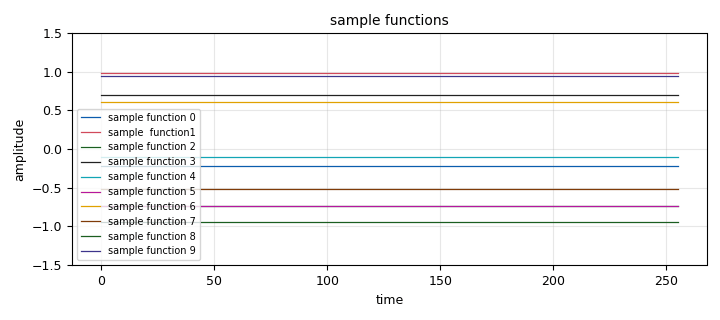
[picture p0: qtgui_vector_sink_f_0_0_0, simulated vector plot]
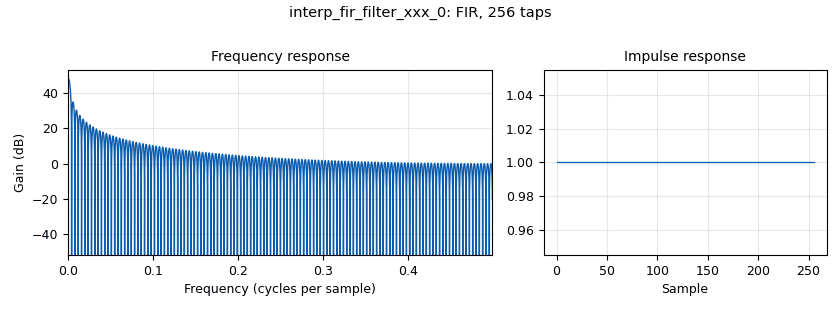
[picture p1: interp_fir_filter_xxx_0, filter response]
<?xml version='1.0' encoding='utf-8'?>
<?grc format='1' created='3.7.13'?>
<flow_graph>
<block>
<key>options</key>
<param><key>id</key><value>top_block</value></param>
<param><key>generate_options</key><value>qt_gui</value></param>
<param><key>run</key><value>run_stop</value></param>
</block>
<block>
<key>variable</key>
<param><key>id</key><value>N</value></param>
<param><key>value</key><value>256</value></param>
</block>
<block>
<key>variable_qtgui_check_box</key>
<param><key>id</key><value>run_stop</value></param>
<param><key>value</key><value>True</value></param>
<param><key>false</key><value>False</value></param>
<param><key>gui_hint</key><value>0,0,1,1</value></param>
<param><key>label</key><value>Inicial/Parar</value></param>
<param><key>true</key><value>True</value></param>
<param><key>type</key><value>int</value></param>
</block>
<block>
<key>variable</key>
<param><key>id</key><value>samp_rate</value></param>
<param><key>value</key><value>32000</value></param>
</block>
<block>
<key>E3TRadio_vector_average_hob</key>
<param><key>id</key><value>E3TRadio_vector_average_hob_0</value></param>
<param><key>Nensayos</key><value>100000000</value></param>
<param><key>N</key><value>N</value></param>
</block>
<block>
<key>analog_const_source_x</key>
<param><key>id</key><value>analog_const_source_x_0_0</value></param>
<param><key>const</key><value>400000</value></param>
<param><key>type</key><value>float</value></param>
</block>
<block>
<key>analog_const_source_x</key>
<param><key>id</key><value>analog_const_source_x_0_0_0_0</value></param>
<param><key>const</key><value>0</value></param>
<param><key>type</key><value>float</value></param>
</block>
<block>
<key>analog_const_source_x</key>
<param><key>id</key><value>analog_const_source_x_0_0_0_1</value></param>
<param><key>const</key><value>1</value></param>
<param><key>type</key><value>float</value></param>
</block>
<block>
<key>analog_noise_source_x</key>
<param><key>id</key><value>analog_noise_source_x_0</value></param>
<param><key>amp</key><value>1</value></param>
<param><key>noise_type</key><value>analog.GR_GAUSSIAN</value></param>
<param><key>type</key><value>float</value></param>
<param><key>seed</key><value>0</value></param>
</block>
<block>
<key>analog_random_uniform_source_x</key>
<param><key>id</key><value>analog_random_uniform_source_x_0</value></param>
<param><key>maximum</key><value>1001</value></param>
<param><key>minimum</key><value>-1000</value></param>
<param><key>type</key><value>int</value></param>
<param><key>seed</key><value>24</value></param>
</block>
<block>
<key>blocks_int_to_float</key>
<param><key>id</key><value>blocks_int_to_float_0</value></param>
<param><key>scale</key><value>1</value></param>
</block>
<block>
<key>blocks_multiply_const_vxx</key>
<param><key>id</key><value>blocks_multiply_const_vxx_0</value></param>
<param><key>const</key><value>1/1000.</value></param>
<param><key>type</key><value>float</value></param>
</block>
<block>
<key>blocks_multiply_const_vxx</key>
<param><key>id</key><value>blocks_multiply_const_vxx_0_0</value></param>
<param><key>const</key><value>math.pi</value></param>
<param><key>type</key><value>float</value></param>
</block>
<block>
<key>blocks_null_sink</key>
<param><key>id</key><value>blocks_null_sink_0</value></param>
<param><key>bus_conns</key><value>[[0,],]</value></param>
<param><key>type</key><value>float</value></param>
</block>
<block>
<key>blocks_null_sink</key>
<param><key>id</key><value>blocks_null_sink_0_0</value></param>
<param><key>bus_conns</key><value>[[0,],]</value></param>
<param><key>type</key><value>float</value></param>
</block>
<block>
<key>blocks_null_sink</key>
<param><key>id</key><value>blocks_null_sink_0_1</value></param>
<param><key>bus_conns</key><value>[[0,],]</value></param>
<param><key>type</key><value>float</value></param>
</block>
<block>
<key>blocks_stream_to_streams</key>
<param><key>id</key><value>blocks_stream_to_streams_0</value></param>
<param><key>type</key><value>float</value></param>
<param><key>num_streams</key><value>10</value></param>
<param><key>vlen</key><value>N</value></param>
</block>
<block>
<key>blocks_stream_to_vector</key>
<param><key>id</key><value>blocks_stream_to_vector_0</value></param>
<param><key>type</key><value>float</value></param>
<param><key>num_items</key><value>N</value></param>
</block>
<block>
<key>import</key>
<param><key>id</key><value>import_0</value></param>
<param><key>import</key><value>import numpy as np</value></param>
</block>
<block>
<key>import</key>
<param><key>id</key><value>import_0_0</value></param>
<param><key>import</key><value>import  math</value></param>
</block>
<block>
<key>interp_fir_filter_xxx</key>
<param><key>id</key><value>interp_fir_filter_xxx_0</value></param>
<param><key>interp</key><value>N</value></param>
<param><key>taps</key><value>np.array([1]*N)</value></param>
<param><key>type</key><value>fff</value></param>
</block>
<block>
<key>epy_block</key>
<param><key>id</key><value>proc_estoc_sine</value></param>
<param><key>_source_code</key><value>"""
Embedded Python Blocks:

Each time this file is saved, GRC will instantiate the first class it finds
to get ports and parameters of your block. The arguments to __init__  will
be the parameters. All of them are required to have default values!
"""
import math
import numpy as np
from gnuradio import gr


class blk(gr.sync_block):  # other base classes are basic_block, decim_block, interp_block
    """Embedded Python Block example - a simple multiply const"""

    def __init__(self):  # only default arguments here
        """arguments to this function show up as parameters in GRC"""
        gr.sync_block.__init__(
            self,
            name='proc_estoc_sine',   # will show up in GRC
            in_sig=[np.float32, np.float32, np.float32,np.float32],
            out_sig=[np.float32]
        )
        self.n_m=0 # guarda el ultimo valor de n

    def work(self, input_items, output_items):
        A=input_items[0]
        F=input_items[1]
        P=input_items[2]
        D=input_items[3]
        out=output_items[0]
        L=len(A)
        n=np.linspace(self.n_m, self.n_m+L-1,L)
        self.n_m += L
        out[:]=A*np.cos(2*math.pi*F*(n+D)+P)
#        out=np.cos(2*math.pi*2000*n)
#        print ("out=", out) 
        return len(out)
</value></param>
</block>
<block>
<key>qtgui_vector_sink_f</key>
<param><key>id</key><value>qtgui_vector_sink_f_0</value></param>
<param><key>width1</key><value>3</value></param>
<param><key>name</key><value>"mean function"</value></param>
<param><key>showports</key><value>True</value></param>
<param><key>vlen</key><value>N</value></param>
<param><key>x_axis_label</key><value>"time"</value></param>
<param><key>x_start</key><value>0</value></param>
<param><key>x_step</key><value>1.0</value></param>
<param><key>ymax</key><value>0.004</value></param>
<param><key>ymin</key><value>-0.004</value></param>
<param><key>y_axis_label</key><value>"amplitude"</value></param>
</block>
<block>
<key>qtgui_vector_sink_f</key>
<param><key>id</key><value>qtgui_vector_sink_f_0_0_0</value></param>
<param><key>label1</key><value>sample function 0</value></param>
<param><key>width1</key><value>3</value></param>
<param><key>label10</key><value>sample function 9</value></param>
<param><key>width10</key><value>3</value></param>
<param><key>label2</key><value>sample  function1</value></param>
<param><key>width2</key><value>3</value></param>
<param><key>label3</key><value>sample function 2</value></param>
<param><key>width3</key><value>3</value></param>
<param><key>label4</key><value>sample function 3</value></param>
<param><key>width4</key><value>3</value></param>
<param><key>label5</key><value>sample function 4</value></param>
<param><key>width5</key><value>3</value></param>
<param><key>label6</key><value>sample function 5</value></param>
<param><key>width6</key><value>3</value></param>
<param><key>label7</key><value>sample function 6</value></param>
<param><key>width7</key><value>3</value></param>
<param><key>label8</key><value>sample function 7</value></param>
<param><key>width8</key><value>3</value></param>
<param><key>label9</key><value>sample function 8</value></param>
<param><key>width9</key><value>3</value></param>
<param><key>name</key><value>"sample functions"</value></param>
<param><key>nconnections</key><value>10</value></param>
<param><key>showports</key><value>True</value></param>
<param><key>vlen</key><value>N</value></param>
<param><key>x_axis_label</key><value>"time"</value></param>
<param><key>x_start</key><value>0</value></param>
<param><key>x_step</key><value>1.0</value></param>
<param><key>ymax</key><value>1.5</value></param>
<param><key>ymin</key><value>-1.5</value></param>
<param><key>y_axis_label</key><value>"amplitude"</value></param>
</block>
<block>
<key>virtual_sink</key>
<param><key>id</key><value>virtual_sink_0</value></param>
<param><key>stream_id</key><value>s0</value></param>
</block>
<block>
<key>virtual_sink</key>
<param><key>id</key><value>virtual_sink_0_1</value></param>
<param><key>stream_id</key><value>s1</value></param>
</block>
<block>
<key>virtual_sink</key>
<param><key>id</key><value>virtual_sink_0_1_0</value></param>
<param><key>stream_id</key><value>s2</value></param>
</block>
<block>
<key>virtual_source</key>
<param><key>id</key><value>virtual_source_0</value></param>
<param><key>stream_id</key><value>s0</value></param>
</block>
<block>
<key>virtual_source</key>
<param><key>id</key><value>virtual_source_0_1</value></param>
<param><key>stream_id</key><value>s0</value></param>
</block>
<connection><source_block_id>E3TRadio_vector_average_hob_0</source_block_id><sink_block_id>qtgui_vector_sink_f_0</sink_block_id><source_key>0</source_key><sink_key>0</sink_key></connection>
<connection><source_block_id>analog_const_source_x_0_0</source_block_id><sink_block_id>proc_estoc_sine</sink_block_id><source_key>0</source_key><sink_key>1</sink_key></connection>
<connection><source_block_id>analog_const_source_x_0_0_0_0</source_block_id><sink_block_id>proc_estoc_sine</sink_block_id><source_key>0</source_key><sink_key>3</sink_key></connection>
<connection><source_block_id>analog_const_source_x_0_0_0_1</source_block_id><sink_block_id>proc_estoc_sine</sink_block_id><source_key>0</source_key><sink_key>0</sink_key></connection>
<connection><source_block_id>analog_noise_source_x_0</source_block_id><sink_block_id>blocks_null_sink_0_1</sink_block_id><source_key>0</source_key><sink_key>0</sink_key></connection>
<connection><source_block_id>analog_noise_source_x_0</source_block_id><sink_block_id>virtual_sink_0_1_0</sink_block_id><source_key>0</source_key><sink_key>0</sink_key></connection>
<connection><source_block_id>analog_random_uniform_source_x_0</source_block_id><sink_block_id>blocks_int_to_float_0</sink_block_id><source_key>0</source_key><sink_key>0</sink_key></connection>
<connection><source_block_id>blocks_int_to_float_0</source_block_id><sink_block_id>blocks_multiply_const_vxx_0</sink_block_id><source_key>0</source_key><sink_key>0</sink_key></connection>
<connection><source_block_id>blocks_multiply_const_vxx_0</source_block_id><sink_block_id>interp_fir_filter_xxx_0</sink_block_id><source_key>0</source_key><sink_key>0</sink_key></connection>
<connection><source_block_id>blocks_multiply_const_vxx_0_0</source_block_id><sink_block_id>proc_estoc_sine</sink_block_id><source_key>0</source_key><sink_key>2</sink_key></connection>
<connection><source_block_id>blocks_stream_to_streams_0</source_block_id><sink_block_id>qtgui_vector_sink_f_0_0_0</sink_block_id><source_key>0</source_key><sink_key>0</sink_key></connection>
<connection><source_block_id>blocks_stream_to_streams_0</source_block_id><sink_block_id>qtgui_vector_sink_f_0_0_0</sink_block_id><source_key>1</source_key><sink_key>1</sink_key></connection>
<connection><source_block_id>blocks_stream_to_streams_0</source_block_id><sink_block_id>qtgui_vector_sink_f_0_0_0</sink_block_id><source_key>2</source_key><sink_key>2</sink_key></connection>
<connection><source_block_id>blocks_stream_to_streams_0</source_block_id><sink_block_id>qtgui_vector_sink_f_0_0_0</sink_block_id><source_key>3</source_key><sink_key>3</sink_key></connection>
<connection><source_block_id>blocks_stream_to_streams_0</source_block_id><sink_block_id>qtgui_vector_sink_f_0_0_0</sink_block_id><source_key>4</source_key><sink_key>4</sink_key></connection>
<connection><source_block_id>blocks_stream_to_streams_0</source_block_id><sink_block_id>qtgui_vector_sink_f_0_0_0</sink_block_id><source_key>5</source_key><sink_key>5</sink_key></connection>
<connection><source_block_id>blocks_stream_to_streams_0</source_block_id><sink_block_id>qtgui_vector_sink_f_0_0_0</sink_block_id><source_key>6</source_key><sink_key>6</sink_key></connection>
<connection><source_block_id>blocks_stream_to_streams_0</source_block_id><sink_block_id>qtgui_vector_sink_f_0_0_0</sink_block_id><source_key>7</source_key><sink_key>7</sink_key></connection>
<connection><source_block_id>blocks_stream_to_streams_0</source_block_id><sink_block_id>qtgui_vector_sink_f_0_0_0</sink_block_id><source_key>8</source_key><sink_key>8</sink_key></connection>
<connection><source_block_id>blocks_stream_to_streams_0</source_block_id><sink_block_id>qtgui_vector_sink_f_0_0_0</sink_block_id><source_key>9</source_key><sink_key>9</sink_key></connection>
<connection><source_block_id>blocks_stream_to_vector_0</source_block_id><sink_block_id>E3TRadio_vector_average_hob_0</sink_block_id><source_key>0</source_key><sink_key>0</sink_key></connection>
<connection><source_block_id>blocks_stream_to_vector_0</source_block_id><sink_block_id>blocks_stream_to_streams_0</sink_block_id><source_key>0</source_key><sink_key>0</sink_key></connection>
<connection><source_block_id>interp_fir_filter_xxx_0</source_block_id><sink_block_id>blocks_null_sink_0_0</sink_block_id><source_key>0</source_key><sink_key>0</sink_key></connection>
<connection><source_block_id>interp_fir_filter_xxx_0</source_block_id><sink_block_id>virtual_sink_0</sink_block_id><source_key>0</source_key><sink_key>0</sink_key></connection>
<connection><source_block_id>proc_estoc_sine</source_block_id><sink_block_id>blocks_null_sink_0</sink_block_id><source_key>0</source_key><sink_key>0</sink_key></connection>
<connection><source_block_id>proc_estoc_sine</source_block_id><sink_block_id>virtual_sink_0_1</sink_block_id><source_key>0</source_key><sink_key>0</sink_key></connection>
<connection><source_block_id>virtual_source_0</source_block_id><sink_block_id>blocks_multiply_const_vxx_0_0</sink_block_id><source_key>0</source_key><sink_key>0</sink_key></connection>
<connection><source_block_id>virtual_source_0_1</source_block_id><sink_block_id>blocks_stream_to_vector_0</sink_block_id><source_key>0</source_key><sink_key>0</sink_key></connection>
</flow_graph>
